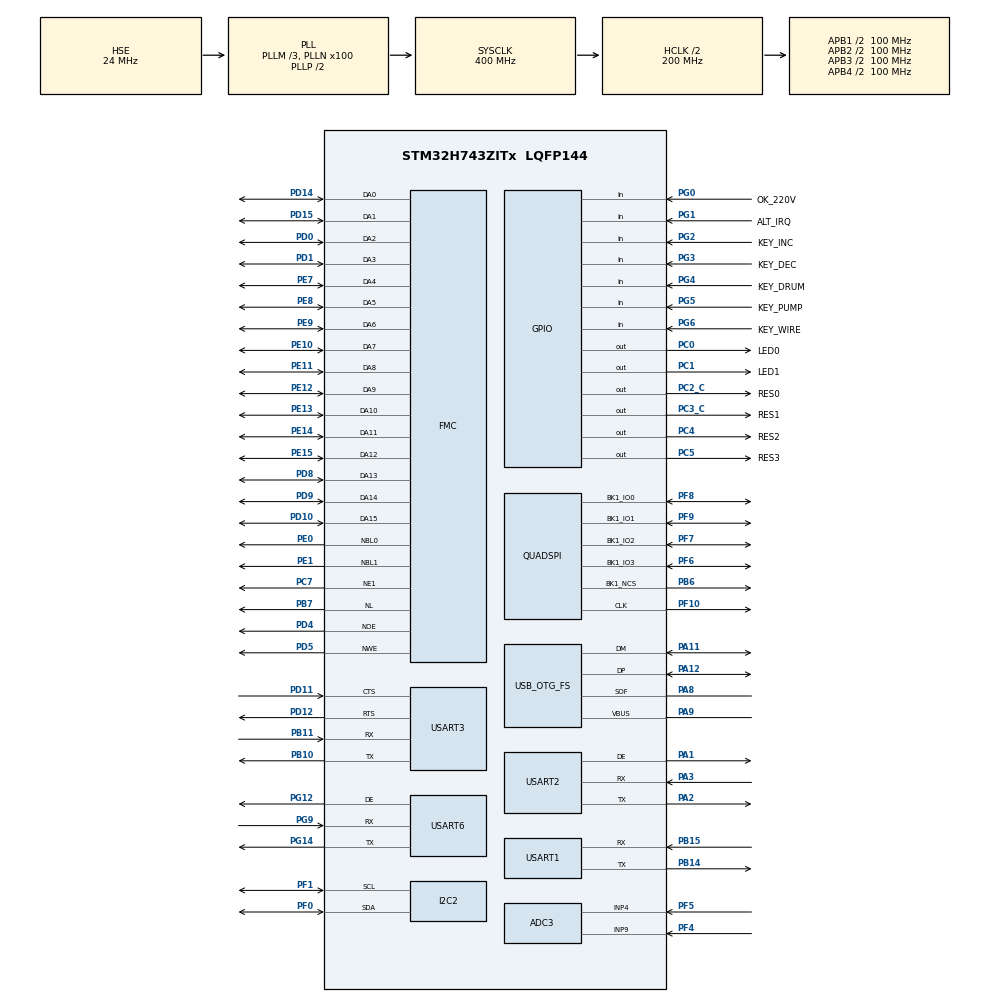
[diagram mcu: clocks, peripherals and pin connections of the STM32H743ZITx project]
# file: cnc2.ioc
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ADC3.Channel-0\#ChannelRegularConversion=ADC_CHANNEL_9
ADC3.NbrOfConversionFlag=1
ADC3.OffsetNumber-0\#ChannelRegularConversion=ADC_OFFSET_NONE
ADC3.Rank-0\#ChannelRegularConversion=1
ADC3.SamplingTime-0\#ChannelRegularConversion=ADC_SAMPLETIME_1CYCLE_5
CORTEX_M7.CPU_DCache=Disabled
CORTEX_M7.CPU_ICache=Enabled
FMC.AddressHoldTime1=6
FMC.BankMapConfig=FMC_SWAPBMAP_SDRAM_SRAM
FMC.BusTurnAroundDuration1=6
FMC.DataSetupTime1=15
FMC.WriteFifo1=FMC_WRITE_FIFO_DISABLE
FMC.WriteFifo2=FMC_WRITE_FIFO_DISABLE
FMC.WriteFifo3=FMC_WRITE_FIFO_DISABLE
FMC.WriteFifo4=FMC_WRITE_FIFO_DISABLE
FMC.WriteOperation1=FMC_WRITE_OPERATION_ENABLE
I2C2.Timing=0x10C0ECFF
Mcu.Family=STM32H7
Mcu.Name=STM32H743ZITx
Mcu.Package=LQFP144
NVIC.OTG_FS_IRQn=true\:0\:0\:false\:false\:true\:false\:true
NVIC.PriorityGroup=NVIC_PRIORITYGROUP_4
NVIC.QUADSPI_IRQn=true\:15\:0\:true\:false\:true\:true\:true
NVIC.USART1_IRQn=true\:14\:0\:true\:false\:true\:true\:true
PA1.Mode=Hardware Flow Control (RS485)
PA1.Signal=USART2_DE
PA11.Mode=Device_Only
PA11.Signal=USB_OTG_FS_DM
PA12.Mode=Device_Only
PA12.Signal=USB_OTG_FS_DP
PA13\ (JTMS/SWDIO).Mode=Serial_Wire
PA13\ (JTMS/SWDIO).Signal=DEBUG_JTMS-SWDIO
PA14\ (JTCK/SWCLK).Mode=Serial_Wire
PA14\ (JTCK/SWCLK).Signal=DEBUG_JTCK-SWCLK
PA15\ (JTDI).Signal=DEBUG_JTDI
PA2.Mode=Asynchronous
PA2.Signal=USART2_TX
PA3.Mode=Asynchronous
PA3.Signal=USART2_RX
PA8.Mode=Activate_SOF_FS
PA8.Signal=USB_OTG_FS_SOF
PA9.Mode=Activate_VBUS
PA9.Signal=USB_OTG_FS_VBUS
PB10.Mode=Asynchronous
PB10.Signal=USART3_TX
PB11.Mode=Asynchronous
PB11.Signal=USART3_RX
PB14.Mode=Asynchronous
PB14.Signal=USART1_TX
PB15.Mode=Asynchronous
PB15.Signal=USART1_RX
PB3\ (JTDO/TRACESWO).Signal=DEBUG_JTDO-SWO
PB4\ (NJTRST).Signal=DEBUG_JTRST
PB6.GPIO_PuPd=GPIO_PULLUP
PB6.GPIO_Speed=GPIO_SPEED_FREQ_HIGH
PB6.Mode=Single Bank 1
PB6.Signal=QUADSPI_BK1_NCS
PB7.Signal=FMC_NL
PC0.GPIO_Label=LED0
PC0.GPIO_ModeDefaultOutputPP=GPIO_MODE_OUTPUT_OD
PC0.Signal=GPIO_Output
PC1.GPIO_Label=LED1
PC1.GPIO_ModeDefaultOutputPP=GPIO_MODE_OUTPUT_OD
PC1.Signal=GPIO_Output
PC14-OSC32_IN\ (OSC32_IN).Mode=LSE-External-Oscillator
PC14-OSC32_IN\ (OSC32_IN).Signal=RCC_OSC32_IN
PC15-OSC32_OUT\ (OSC32_OUT).Mode=LSE-External-Oscillator
PC15-OSC32_OUT\ (OSC32_OUT).Signal=RCC_OSC32_OUT
PC2_C.GPIO_Label=RES0
PC2_C.Signal=GPIO_Output
PC3_C.GPIO_Label=RES1
PC3_C.Signal=GPIO_Output
PC4.GPIO_Label=RES2
PC4.Signal=GPIO_Output
PC5.GPIO_Label=RES3
PC5.Signal=GPIO_Output
PC7.Mode=NorPsramChipSelect1_1
PC7.Signal=FMC_NE1
PD0.Signal=FMC_D2_DA2
PD1.Signal=FMC_D3_DA3
PD10.Signal=FMC_D15_DA15
PD11.Mode=CTS_RTS
PD11.Signal=USART3_CTS
PD12.Mode=CTS_RTS
PD12.Signal=USART3_RTS
PD14.Signal=FMC_D0_DA0
PD15.Signal=FMC_D1_DA1
PD4.Signal=FMC_NOE
PD5.Signal=FMC_NWE
PD8.Signal=FMC_D13_DA13
PD9.Signal=FMC_D14_DA14
PE0.Signal=FMC_NBL0
PE1.Signal=FMC_NBL1
PE10.Signal=FMC_D7_DA7
PE11.Signal=FMC_D8_DA8
PE12.Signal=FMC_D9_DA9
PE13.Signal=FMC_D10_DA10
PE14.Signal=FMC_D11_DA11
PE15.Signal=FMC_D12_DA12
PE7.Signal=FMC_D4_DA4
PE8.Signal=FMC_D5_DA5
PE9.Signal=FMC_D6_DA6
PF0.Mode=I2C
PF0.Signal=I2C2_SDA
PF1.Mode=I2C
PF1.Signal=I2C2_SCL
PF10.GPIO_Speed=GPIO_SPEED_FREQ_HIGH
PF10.Mode=Single Bank 1
PF10.Signal=QUADSPI_CLK
PF4.Mode=IN9-Single-Ended
PF4.Signal=ADC3_INP9
PF5.Mode=IN4-Single-Ended
PF5.Signal=ADC3_INP4
PF6.GPIO_Speed=GPIO_SPEED_FREQ_HIGH
PF6.Mode=Single Bank 1
PF6.Signal=QUADSPI_BK1_IO3
PF7.GPIO_Speed=GPIO_SPEED_FREQ_HIGH
PF7.Mode=Single Bank 1
PF7.Signal=QUADSPI_BK1_IO2
PF8.GPIO_Speed=GPIO_SPEED_FREQ_HIGH
PF8.Mode=Single Bank 1
PF8.Signal=QUADSPI_BK1_IO0
PF9.GPIO_Speed=GPIO_SPEED_FREQ_HIGH
PF9.Mode=Single Bank 1
PF9.Signal=QUADSPI_BK1_IO1
PG0.GPIO_Label=OK_220V
PG0.GPIO_PuPd=GPIO_PULLUP
PG0.Signal=GPIO_Input
PG1.GPIO_Label=ALT_IRQ
PG1.GPIO_PuPd=GPIO_PULLUP
PG1.Signal=GPIO_Input
PG12.Mode=Hardware Flow Control (RS485)
PG12.Signal=USART6_DE
PG14.Mode=Asynchronous
PG14.Signal=USART6_TX
PG2.GPIO_Label=KEY_INC
PG2.GPIO_PuPd=GPIO_PULLUP
PG2.Signal=GPIO_Input
PG3.GPIO_Label=KEY_DEC
PG3.GPIO_PuPd=GPIO_PULLUP
PG3.Signal=GPIO_Input
PG4.GPIO_Label=KEY_DRUM
PG4.GPIO_PuPd=GPIO_PULLUP
PG4.Signal=GPIO_Input
PG5.GPIO_Label=KEY_PUMP
PG5.GPIO_PuPd=GPIO_PULLUP
PG5.Signal=GPIO_Input
PG6.GPIO_Label=KEY_WIRE
PG6.GPIO_PuPd=GPIO_PULLUP
PG6.Signal=GPIO_Input
PG9.Mode=Asynchronous
PG9.Signal=USART6_RX
PH0-OSC_IN\ (PH0).Mode=HSE-External-Clock-Source
PH0-OSC_IN\ (PH0).Signal=RCC_OSC_IN
PH1-OSC_OUT\ (PH1).Mode=HSE-External-Clock-Source
PH1-OSC_OUT\ (PH1).Signal=RCC_OSC_OUT
ProjectManager.HeapSize=0x800
ProjectManager.StackSize=0x400
ProjectManager.TargetToolchain=TrueSTUDIO
QUADSPI.ChipSelectHighTime=QSPI_CS_HIGH_TIME_4_CYCLE
QUADSPI.ClockPrescaler=2
QUADSPI.FifoThreshold=4
QUADSPI.FlashSize=24
QUADSPI.SampleShifting=QSPI_SAMPLE_SHIFTING_HALFCYCLE
RCC.ADCFreq_Value=100000000
RCC.APB1Freq_Value=100000000
RCC.APB2Freq_Value=100000000
RCC.APB3Freq_Value=100000000
RCC.APB4Freq_Value=100000000
RCC.CKPERSourceSelection=RCC_CLKPSOURCE_HSE
RCC.CortexFreq_Value=400000000
RCC.D1PPRE=RCC_APB3_DIV2
RCC.D2PPRE1=RCC_APB1_DIV2
RCC.D2PPRE2=RCC_APB2_DIV2
RCC.D3PPRE=RCC_APB4_DIV2
RCC.DIVM1=3
RCC.DIVM2=3
RCC.DIVM3=2
RCC.DIVN1=100
RCC.DIVN2=100
RCC.DIVN3=64
RCC.DIVP2=8
RCC.DIVP3=4
RCC.DIVQ2=8
RCC.DIVQ3=16
RCC.DIVR2=8
RCC.DIVR3=16
RCC.FDCANCLockSelection=RCC_FDCANCLKSOURCE_PLL2
RCC.HCLKFreq_Value=200000000
RCC.HPRE=RCC_HCLK_DIV2
RCC.HSE_VALUE=24000000
RCC.PLL2FRACN=0
RCC.PLL3FRACN=0
RCC.PLLFRACN=0
RCC.SPI123CLockSelection=RCC_SPI123CLKSOURCE_PLL2
RCC.SYSCLKFreq_VALUE=400000000
RCC.SYSCLKSource=RCC_SYSCLKSOURCE_PLLCLK
RCC.USBCLockSelection=RCC_USBCLKSOURCE_PLL3
RCC.USBFreq_Value=48000000
SH.FMC_D0_DA0.0=FMC_DA0,16b-da1
SH.FMC_D10_DA10.0=FMC_DA10,16b-da1
SH.FMC_D11_DA11.0=FMC_DA11,16b-da1
SH.FMC_D12_DA12.0=FMC_DA12,16b-da1
SH.FMC_D13_DA13.0=FMC_DA13,16b-da1
SH.FMC_D14_DA14.0=FMC_DA14,16b-da1
SH.FMC_D15_DA15.0=FMC_DA15,16b-da1
SH.FMC_D1_DA1.0=FMC_DA1,16b-da1
SH.FMC_D2_DA2.0=FMC_DA2,16b-da1
SH.FMC_D3_DA3.0=FMC_DA3,16b-da1
SH.FMC_D4_DA4.0=FMC_D4
SH.FMC_D4_DA4.1=FMC_DA4,16b-da1
SH.FMC_D5_DA5.0=FMC_DA5,16b-da1
SH.FMC_D6_DA6.0=FMC_DA6,16b-da1
SH.FMC_D7_DA7.0=FMC_DA7,16b-da1
SH.FMC_D8_DA8.0=FMC_DA8,16b-da1
SH.FMC_D9_DA9.0=FMC_DA9,16b-da1
SH.FMC_NBL0.0=FMC_NBL0,2ByteEnable1
SH.FMC_NBL1.0=FMC_NBL1,2ByteEnable1
SH.FMC_NL.0=FMC_NL,AddressValid1
SH.FMC_NOE.0=FMC_NOE,MuxedPsram1
SH.FMC_NWE.0=FMC_NWE,MuxedPsram1
USART1.FIFOMode=FIFOMODE_ENABLE
USART1.VirtualMode-Asynchronous=VM_ASYNC
USART2.FIFOMode=FIFOMODE_ENABLE
USART2.VirtualMode-Asynchronous=VM_ASYNC
USART2.VirtualMode-Hardware\ Flow\ Control\ (RS485)=VM_ASYNC
USART3.FIFOMode=FIFOMODE_ENABLE
USART3.VirtualMode-Asynchronous=VM_ASYNC
USART6.FIFOMode=FIFOMODE_ENABLE
USART6.VirtualMode-Asynchronous=VM_ASYNC
USART6.VirtualMode-Hardware\ Flow\ Control\ (RS485)=VM_ASYNC
USB_DEVICE.CLASS_NAME_FS=CDC
USB_DEVICE.VirtualMode-CDC_FS=Cdc
USB_DEVICE.VirtualModeFS=Cdc_FS
USB_OTG_FS.Sof_enable=ENABLE
USB_OTG_FS.VirtualMode=Device_Only
USB_OTG_FS.battery_charging_enable=DISABLE
VP_CRC_VS_CRC.Mode=CRC_Activate
VP_RTC_VS_RTC_Activate.Mode=RTC_Enabled
VP_RTC_VS_RTC_Calendar.Mode=RTC_Calendar
VP_USB_DEVICE_VS_USB_DEVICE_CDC_FS.Mode=CDC_FS
VP_WWDG1_VS_WWDG.Mode=WWDG_Activate
WWDG1.Counter=0x7F
WWDG1.Prescaler=WWDG_PRESCALER_128
WWDG1.Window=0x7F
board=custom

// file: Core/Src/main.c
/* USER CODE BEGIN Header */
/**
  ******************************************************************************
  * @file           : main.c
  * @brief          : Main program body
  ******************************************************************************
  * @attention
  *
  * <h2><center>&copy; Copyright (c) 2020 STMicroelectronics.
  * All rights reserved.</center></h2>
  *
  * This software component is licensed by ST under Ultimate Liberty license
  * SLA0044, the "License"; You may not use this file except in compliance with
  * the License. You may obtain a copy of the License at:
  *                             www.st.com/SLA0044
  *
  ******************************************************************************
  */
/* USER CODE END Header */

#include "main.h"
#include "adc.h"
#include "crc.h"
#include "i2c.h"
#include "quadspi.h"
#include "rtc.h"
#include "usart.h"
#include "usb_device.h"
#include "wwdg.h"
#include "gpio.h"
#include "fmc.h"

/* USER CODE BEGIN Includes */
#include <stdio.h>
#include "led_task.h"
#include "debug_fifo.h"
#include "test.h"
#include "cnc_task.h"
#include "cdc_rx_task.h"
#include "com_task.h"
#include "rw_ad.h"
#include "key_task.h"
#include "qspi_flash.h"
#include "prog_array.h"
#include "flash_prog_array.h"

#include "backup.h"
#include "sem_led.h"
#include "soft_wdt.h"
#include "defines.h"
#include "moving_avg.h"
/* USER CODE END Includes */

void SystemClock_Config(void);

/* USER CODE BEGIN PFP */
void ind_test_task();
void pult_test_task();
void input_test_task();

/* USER CODE END PFP */

int main(void)
{

  /* Enable I-Cache---------------------------------------------------------*/
  SCB_EnableICache();

  /* MCU Configuration--------------------------------------------------------*/

  /* Reset of all peripherals, Initializes the Flash interface and the Systick. */
  HAL_Init();

  /* Configure the system clock */
  SystemClock_Config();

  /* Initialize all configured peripherals */
  MX_GPIO_Init();
  MX_FMC_Init();
  MX_I2C2_Init();
  MX_QUADSPI_Init();
  MX_USART1_UART_Init();
  MX_USART3_UART_Init();
  MX_USART6_UART_Init();
  MX_ADC3_Init();
  MX_RTC_Init();
  MX_USART2_UART_Init();
  MX_USB_DEVICE_Init();
  MX_CRC_Init();
  /* USER CODE BEGIN 2 */
  reset();
//  _Min_Stack_Size
//  {
//	  reset_status_t s = fpga_getResetStatus();
//
//	  if (s.power_on_flag || s.pll_reset_flag) {
//		  prinft("FPGA:");
//
//		  if (s.power_on_flag)
//			  prinft(" ON");
//
//		  if (s.pll_reset_flag)
//			  prinft(" PLL\n");
//		  else
//			  prinft("\n");
//	  }
//
//	  fpga_clearResetStatus();
//  }

//  cnc_rev_test();

//  bkp_test();
//  qspi_test_blocking();
//  flash_pa_test();

//  bkp_print();

#ifdef TEST
  test();
  reset();
//  cnc_direct_test();
//  qspi_test_blocking();
#endif

#ifdef PA_TEST
  pa_test();
#endif

#ifdef TEST_NUM
  cnc_task_tb();
#endif

#ifdef WDT_ENA
  MX_WWDG1_Init();
#endif

//  step_dir_ena(TRUE);
  /* USER CODE END 2 */

  /* Infinite loop */
  /* USER CODE BEGIN WHILE */
//  fpga_setInputLevel(0x300);

//  sem_enable(TRUE); // test
//#if defined(STONE)
//  sem_enable(TRUE);
////  sem_set(4); // test
//#else
//  sem_enable(FALSE);
//#endif

//  mavg_tb();

  while (1)
  {
	  led_task();

//	  ind_test_task();
//	  pult_test_task();
//	  input_test_task();
//	  test_task();

	  cdc_rx_task();
	  com_task();
	  debug_task();
	  cnc_task();
	  key_task();

	  sem_task();

//#ifdef TEST_NUM
//	  read_imit_fifo_task();
//#endif

#ifdef WDT_ENA
	  HAL_WWDG_Refresh(&hwwdg1);
#endif

#ifdef SOFT_WDT
	  soft_wdt_task();
#endif
    /* USER CODE END WHILE */

  }
}

void SystemClock_Config(void)
{
  RCC_OscInitTypeDef RCC_OscInitStruct = {0};
  RCC_ClkInitTypeDef RCC_ClkInitStruct = {0};
  RCC_PeriphCLKInitTypeDef PeriphClkInitStruct = {0};

  /** Supply configuration update enable
  */
  HAL_PWREx_ConfigSupply(PWR_LDO_SUPPLY);
  /** Configure the main internal regulator output voltage
  */
  __HAL_PWR_VOLTAGESCALING_CONFIG(PWR_REGULATOR_VOLTAGE_SCALE1);

  while(!__HAL_PWR_GET_FLAG(PWR_FLAG_VOSRDY)) {}
  /** Macro to configure the PLL clock source
  */
  __HAL_RCC_PLL_PLLSOURCE_CONFIG(RCC_PLLSOURCE_HSE);
  /** Initializes the CPU, AHB and APB busses clocks
  */
  RCC_OscInitStruct.OscillatorType = RCC_OSCILLATORTYPE_LSI|RCC_OSCILLATORTYPE_HSE;
  RCC_OscInitStruct.HSEState = RCC_HSE_BYPASS;
  RCC_OscInitStruct.LSIState = RCC_LSI_ON;
  RCC_OscInitStruct.PLL.PLLState = RCC_PLL_ON;
  RCC_OscInitStruct.PLL.PLLSource = RCC_PLLSOURCE_HSE;
  RCC_OscInitStruct.PLL.PLLM = 3;
  RCC_OscInitStruct.PLL.PLLN = 100;
  RCC_OscInitStruct.PLL.PLLP = 2;
  RCC_OscInitStruct.PLL.PLLQ = 2;
  RCC_OscInitStruct.PLL.PLLR = 2;
  RCC_OscInitStruct.PLL.PLLRGE = RCC_PLL1VCIRANGE_3;
  RCC_OscInitStruct.PLL.PLLVCOSEL = RCC_PLL1VCOWIDE;
  RCC_OscInitStruct.PLL.PLLFRACN = 0;
  if (HAL_RCC_OscConfig(&RCC_OscInitStruct) != HAL_OK)
  {
    Error_Handler();
  }
  /** Initializes the CPU, AHB and APB busses clocks
  */
  RCC_ClkInitStruct.ClockType = RCC_CLOCKTYPE_HCLK|RCC_CLOCKTYPE_SYSCLK
                              |RCC_CLOCKTYPE_PCLK1|RCC_CLOCKTYPE_PCLK2
                              |RCC_CLOCKTYPE_D3PCLK1|RCC_CLOCKTYPE_D1PCLK1;
  RCC_ClkInitStruct.SYSCLKSource = RCC_SYSCLKSOURCE_PLLCLK;
  RCC_ClkInitStruct.SYSCLKDivider = RCC_SYSCLK_DIV1;
  RCC_ClkInitStruct.AHBCLKDivider = RCC_HCLK_DIV2;
  RCC_ClkInitStruct.APB3CLKDivider = RCC_APB3_DIV2;
  RCC_ClkInitStruct.APB1CLKDivider = RCC_APB1_DIV2;
  RCC_ClkInitStruct.APB2CLKDivider = RCC_APB2_DIV2;
  RCC_ClkInitStruct.APB4CLKDivider = RCC_APB4_DIV2;

  if (HAL_RCC_ClockConfig(&RCC_ClkInitStruct, FLASH_LATENCY_2) != HAL_OK)
  {
    Error_Handler();
  }
  PeriphClkInitStruct.PeriphClockSelection = RCC_PERIPHCLK_RTC|RCC_PERIPHCLK_USART3
                              |RCC_PERIPHCLK_USART2|RCC_PERIPHCLK_USART6
                              |RCC_PERIPHCLK_USART1|RCC_PERIPHCLK_I2C2
                              |RCC_PERIPHCLK_ADC|RCC_PERIPHCLK_USB
                              |RCC_PERIPHCLK_QSPI|RCC_PERIPHCLK_FMC;
  PeriphClkInitStruct.PLL2.PLL2M = 3;
  PeriphClkInitStruct.PLL2.PLL2N = 100;
  PeriphClkInitStruct.PLL2.PLL2P = 8;
  PeriphClkInitStruct.PLL2.PLL2Q = 8;
  PeriphClkInitStruct.PLL2.PLL2R = 8;
  PeriphClkInitStruct.PLL2.PLL2RGE = RCC_PLL2VCIRANGE_3;
  PeriphClkInitStruct.PLL2.PLL2VCOSEL = RCC_PLL2VCOWIDE;
  PeriphClkInitStruct.PLL2.PLL2FRACN = 0;
  PeriphClkInitStruct.PLL3.PLL3M = 2;
  PeriphClkInitStruct.PLL3.PLL3N = 64;
  PeriphClkInitStruct.PLL3.PLL3P = 4;
  PeriphClkInitStruct.PLL3.PLL3Q = 16;
  PeriphClkInitStruct.PLL3.PLL3R = 16;
  PeriphClkInitStruct.PLL3.PLL3RGE = RCC_PLL3VCIRANGE_3;
  PeriphClkInitStruct.PLL3.PLL3VCOSEL = RCC_PLL3VCOWIDE;
  PeriphClkInitStruct.PLL3.PLL3FRACN = 0;
  PeriphClkInitStruct.FmcClockSelection = RCC_FMCCLKSOURCE_D1HCLK;
  PeriphClkInitStruct.QspiClockSelection = RCC_QSPICLKSOURCE_D1HCLK;
  PeriphClkInitStruct.Usart234578ClockSelection = RCC_USART234578CLKSOURCE_D2PCLK1;
  PeriphClkInitStruct.Usart16ClockSelection = RCC_USART16CLKSOURCE_D2PCLK2;
  PeriphClkInitStruct.I2c123ClockSelection = RCC_I2C123CLKSOURCE_D2PCLK1;
  PeriphClkInitStruct.UsbClockSelection = RCC_USBCLKSOURCE_PLL3;
  PeriphClkInitStruct.AdcClockSelection = RCC_ADCCLKSOURCE_PLL2;
  PeriphClkInitStruct.RTCClockSelection = RCC_RTCCLKSOURCE_LSI;
  if (HAL_RCCEx_PeriphCLKConfig(&PeriphClkInitStruct) != HAL_OK)
  {
    Error_Handler();
  }
  /** Enable USB Voltage detector
  */
  HAL_PWREx_EnableUSBVoltageDetector();
}

void Error_Handler(void)
{
}

/************************ (C) COPYRIGHT STMicroelectronics *****END OF FILE****/
